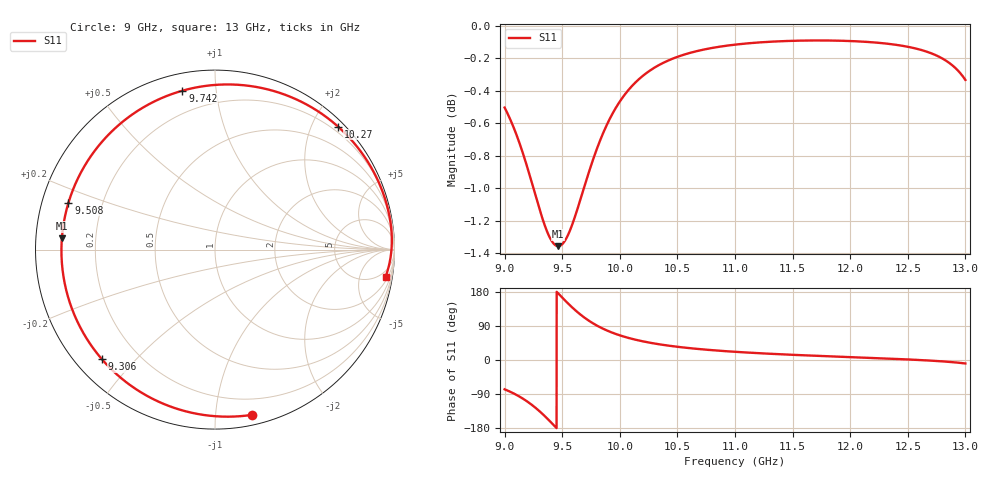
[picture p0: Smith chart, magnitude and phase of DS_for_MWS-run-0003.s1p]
! TOUCHSTONE file generated by CST DESIGN STUDIO
! Date and time: Tue Feb  4 17:59:43 2025
! Project name: C:\Work\MatlabApps\UnitCellOptimizationMatlab\CST\unitcell.cst
! Tree item: Tasks\Sweep1\SPara1\S-Parameters
! Header version: 2024
! Port assignment regex: !\s*Touchstone port\s*([0-9]+)\s*=\s*(CST MWS port|CST DES external port|CST DES block port)\s*(.+)\s* \(\"(.*)\"\)(\s*mode\s*([0-9]+))?.*
! Touchstone port assignment:
! Touchstone port 1 = CST DES external port 1 ("")
# GHz S MA R 50
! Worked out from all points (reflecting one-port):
!   4001 points, 9 GHz to 13 GHz, reference 50 ohm
!   lowest |S11| = -1.4 dB at 9.465 GHz (marker M1), VSWR 12.83, Z = 3.9 + j1.82 ohm
!   phase of S11 starts at -77 deg and turns -292 deg over the sweep
!   S11 on the Smith chart (normalised r, x): 9 GHz: 0.07, -1.25; 9.306 GHz: 0.08, -0.40; 9.508 GHz: 0.08, +0.16; 9.742 GHz: 0.08, +0.81; 10.27 GHz: 0.11, +2.41; 13 GHz: 3, -12
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9  0.9436 -77.3
9.096  0.927 -90.9
9.172  0.9105 -104.5
9.241  0.8936 -119.5
9.306  0.8774 -136.0
9.351  0.8676 -148.7
9.391  0.8608 -160.8
9.428  0.8568 -172.4
9.465  0.8554 175.8
9.5  0.8566 164.7
9.508  0.8572 162.2
9.568  0.8651 144.1
9.624  0.8764 128.6
9.681  0.8896 114.6
9.742  0.9038 101.6
9.801  0.9164 90.9
9.869  0.9291 80.5
10  0.9477 65.1
10.126  0.9598 54.3
10.273  0.9693 45.0
10.5  0.9781 34.9
10.722  0.9831 27.9
11  0.9866 21.6
11.5  0.9893 13.7
12  0.9891 7.6
12.5  0.9851 1.5
12.784  0.9777 -3.3
13  0.9623 -9.1
